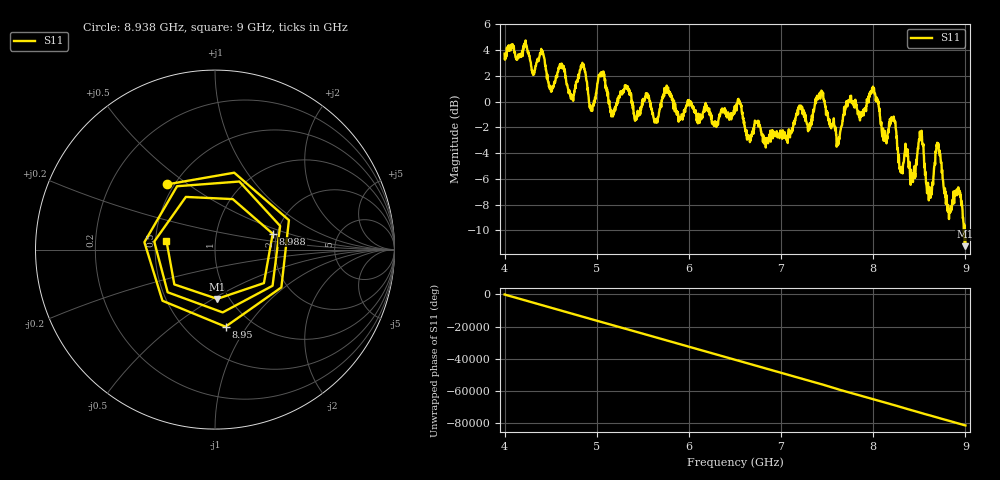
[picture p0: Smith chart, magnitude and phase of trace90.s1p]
! Created with skrf 1.8.0 (http://scikit-rf.org).
# Hz S RI R 50.0
!freq ReS11 ImS11
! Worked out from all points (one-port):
!   1601 points, 4 GHz to 9 GHz, reference 50 ohm
!   lowest |S11| = -11.2 dB at 8.994 GHz (marker M1), VSWR 1.76, Z = 44 - j26.1 ohm
!   |S11| at or under -10 dB: 8.982507 GHz to 8.986095 GHz (3.588 MHz wide, 0.0399 % of centre); 8.991712 GHz to end of sweep
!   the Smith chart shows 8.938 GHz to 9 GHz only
!   S11 on the Smith chart (normalised r, x): 8.938 GHz: 0.46, +0.42; 8.95 GHz: 0.76, -0.80; 8.988 GHz: 1.90, +0.38; 9 GHz: 0.57, +0.06
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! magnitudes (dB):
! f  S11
! 4 GHz  3.7
! 4.625 GHz  2.7
! 4.731 GHz  0.2
! 4.853 GHz  2.7
! 4.941 GHz  -0.6
! 5.047 GHz  2.3
! 5.166 GHz  -0.9
! 5.25 GHz  0.5
! 5.875 GHz  -0.9
! 6.5 GHz  -0.7
! 7.125 GHz  -2.1
! 7.431 GHz  0.7
! 7.622 GHz  -3.3
! 7.75 GHz  0.4
! 8 GHz  1.0
! 8.119 GHz  -2.7
! 8.216 GHz  -1.3
! 8.375 GHz  -4.3
! 8.431 GHz  -6.2
! 8.519 GHz  -2.5
! 8.609 GHz  -7.4
! 8.7 GHz  -3.3
! 8.812 GHz  -8.0
! 8.938 GHz  -6.9
! 8.95 GHz  -7.3
! 8.988 GHz  -9.5
! 8.994 GHz  -11.2
! 9 GHz  -11.2
